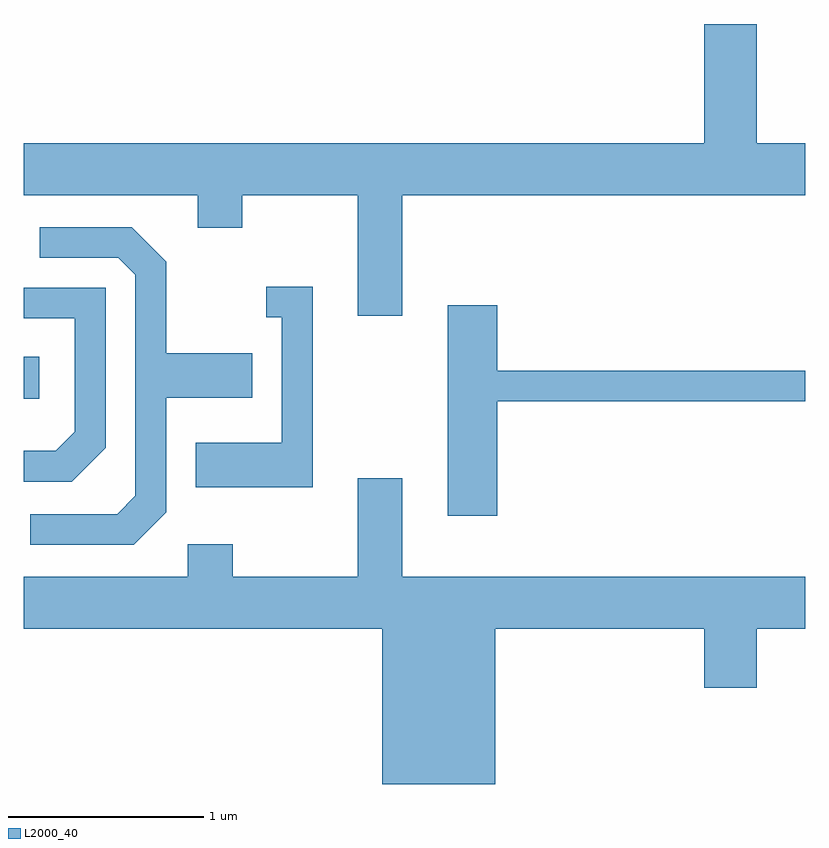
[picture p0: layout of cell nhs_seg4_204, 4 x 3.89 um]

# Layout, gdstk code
import gdstk
lib = gdstk.Library(unit=1e-6, precision=1e-09)
def R(c, l, rs):  # rectangles x0, y0, x1, y1
    for r in rs: c.add(gdstk.rectangle(r[:2], r[2:], *l))
def P(c, l, *ps):  # polygons
    for p in ps: c.add(gdstk.Polygon(p, *l))
L2000_40 = (2000, 40)

nhs_seg4_204 = lib.new_cell('nhs_seg4_204')
R(nhs_seg4_204, L2000_40, [(191.611,1255.956,191.689,1256.169)])
P(nhs_seg4_204, L2000_40, [(193.549,1256.996),(195.611,1256.996),(195.611,1257.264),(195.364,1257.264),(195.364,1257.874),(195.096,1257.874),(195.096,1257.264),(191.611,1257.264),(191.611,1256.996),(192.501,1256.996),(192.501,1256.831),(192.729,1256.831),(192.729,1256.996),(193.321,1256.996),(193.321,1256.381),(193.549,1256.381)],
  [(192.339,1255.374),(192.339,1255.961),(192.779,1255.961),(192.779,1256.189),(192.339,1256.189),(192.339,1256.657),(192.162,1256.834),(191.693,1256.834),(191.693,1256.676),(192.094,1256.676),(192.181,1256.589),(192.181,1255.457),(192.089,1255.364),(191.643,1255.364),(191.643,1255.206),(192.172,1255.206)],
  [(193.089,1256.529),(192.853,1256.529),(192.853,1256.371),(192.931,1256.371),(192.931,1255.729),(192.491,1255.729),(192.491,1255.501),(193.089,1255.501)],
  [(192.029,1255.704),(192.029,1256.524),(191.611,1256.524),(191.611,1256.366),(191.871,1256.366),(191.871,1255.787),(191.774,1255.689),(191.611,1255.689),(191.611,1255.531),(191.857,1255.531)],
  [(194.034,1255.941),(195.611,1255.941),(195.611,1256.099),(194.034,1256.099),(194.034,1256.434),(193.781,1256.434),(193.781,1255.356),(194.034,1255.356)],
  [(194.024,1254.776),(195.096,1254.776),(195.096,1254.476),(195.364,1254.476),(195.364,1254.776),(195.611,1254.776),(195.611,1255.044),(193.549,1255.044),(193.549,1255.549),(193.321,1255.549),(193.321,1255.044),(192.679,1255.044),(192.679,1255.209),(192.451,1255.209),(192.451,1255.044),(191.611,1255.044),(191.611,1254.776),(193.446,1254.776),(193.446,1253.982),(194.024,1253.982)])

lib.write_gds('nhs_seg4_204.gds')
